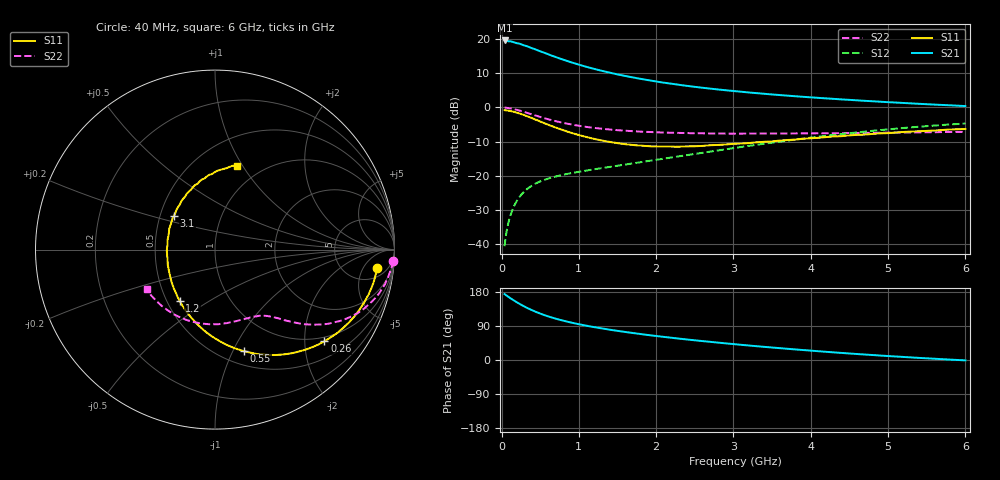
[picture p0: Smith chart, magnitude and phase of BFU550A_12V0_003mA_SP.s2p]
! Filename:  P:\Prog\Test\Noise\ATS_data\Testdata_Net\03 Spar\BFU550A_APG2013_35_C05_12p0V_003mA_SP_CM01_D.s2p
! Date/Time: Tue 16/Apr/2013 15:10:23
! BFU550A_APG2013_35_C05_12p0V_1to35mA_SP_CM01_Bias3_R.s2p
! MDIF S-parameter v. bias file
! BFU550A_APG2013_35_C05_12p0V_1to35mA_SP_CM01
! Date/time Mon Apr 15 17:55:46 2013
! VAR V_out= 12.0000
! VAR I_out= 3.0050
! VAR V_in= 0.7975
! VAR I_in= 0.0245
! Device data file deembeded for feedlines and parallel
! Original file: \03 Spar\BFU550A_APG2013_35_C05_12p0V_003mA_SP_CM01_R.s2p
! Feed-files: PR017V01_150413_Feed1.s2p, PR017V01_150413_Feed2.s2p
! Parallel-file: PR017V01_150413_Par.s2p
# MHz S MA R 50
!  Freq-MHz  S11-mag  S11-arg  S21-mag  S21-arg  S12-mag  S12-arg  S22-mag  S22-arg
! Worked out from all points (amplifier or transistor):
!   98 points, 40 MHz to 6 GHz, reference 50 ohm
!   highest |S21| = 19.6 dB at 40 MHz (marker M1)
!   |S21| within 3 dB of that: start of sweep to 480.3 MHz
!   unconditionally stable (mu >= 1): 1.904 GHz to 2.706 GHz
!   at 300 MHz: K = 0.28, MSG = 21.3 dB, |S12| = -24.5 dB
!   at 1.6 GHz: K = 0.95, MSG = 12.9 dB, |S12| = -16.7 dB
!   at 6 GHz: K = 0.86, MSG = 2.6 dB, |S12| = -4.7 dB
!   S11 on the Smith chart (normalised r, x): 40 MHz: 9, -10; 260 MHz: 0.89, -2.47; 550 MHz: 0.64, -1.11; 1.2 GHz: 0.58, -0.38; 3.1 GHz: 0.59, +0.24; 6 GHz: 0.77, +0.95
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40  0.911 -6.5  9.513 174.1  0.009378 84.5  0.9922 -3.7
60  0.9046 -9.8  9.392 170.7  0.01408 83.0  0.988 -6.0
120  0.882 -19.4  9.224 162.3  0.02739 78.1  0.9659 -11.6
140  0.8724 -22.5  9.093 159.8  0.03155 76.5  0.9548 -13.4
220  0.8238 -34.4  8.605 149.8  0.04692 70.5  0.9067 -19.9
260  0.7954 -40.0  8.307 145.0  0.05369 67.7  0.8811 -22.9
320  0.7507 -48.0  7.9 138.6  0.06258 64.3  0.8392 -26.7
400  0.6921 -57.7  7.296 131.0  0.07258 60.6  0.7855 -30.8
440  0.6629 -62.4  7.026 127.4  0.07705 59.0  0.7611 -32.7
550  0.5891 -74.0  6.307 118.7  0.08692 55.6  0.6967 -36.9
650  0.5337 -83.2  5.707 112.2  0.09456 53.7  0.6509 -39.7
750  0.4855 -91.8  5.196 106.4  0.1009 52.5  0.6109 -41.9
900  0.4257 -103.7  4.569 98.9  0.1094 51.6  0.5645 -44.7
1050  0.3811 -114.4  4.058 92.4  0.1169 51.6  0.5279 -46.9
1200  0.3463 -124.7  3.65 86.7  0.1246 52.0  0.5014 -48.8
1550  0.2948 -146.8  2.958 75.4  0.1433 53.8  0.4605 -53.2
2050  0.2681 -174.7  2.343 62.2  0.1746 56.5  0.4307 -60.1
2500  0.2706 163.7  1.998 52.0  0.2087 57.8  0.4198 -67.4
3100  0.2963 140.4  1.694 40.1  0.264 57.6  0.414 -78.7
4100  0.3595 111.8  1.378 23.1  0.373 52.0  0.4184 -101.0
5200  0.4376 88.9  1.161 8.0  0.5008 40.7  0.4286 -128.2
6000  0.4835 75.4  1.046 -0.9  0.5808 30.8  0.4386 -149.7
